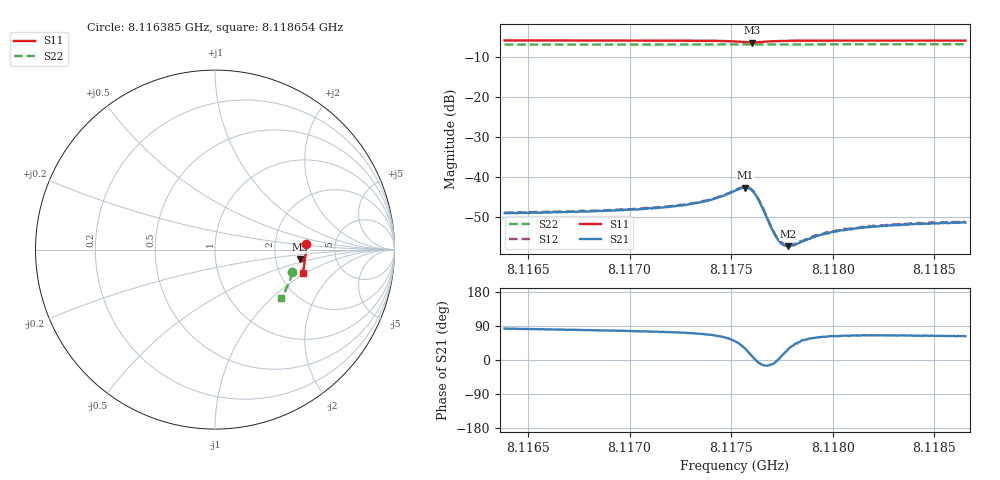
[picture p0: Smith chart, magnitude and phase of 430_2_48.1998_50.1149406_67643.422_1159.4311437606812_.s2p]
#  HZ  S  RI  R  50.00
! Rohde & Schwarz Vector Network Analyzer
! Rohde-Schwarz,ZNB20-2Port,1311601062101988,3.16
! Created: UTC 3/20/2024, 11:55:18 AM
! freq[Hz]  re:S11  im:S11  re:S21  im:S21  re:S12  im:S12  re:S22  im:S22
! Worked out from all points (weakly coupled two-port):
!   401 points, 8.116385 GHz to 8.118654 GHz, reference 50 ohm
!   highest |S21| = -42.54 dB at 8.117571 GHz (marker M1); lowest = -57.2 dB at 8.11778 GHz (marker M2)
!   lowest |S11| = -6.4 dB at 8.117605 GHz (marker M3), VSWR 2.83, Z = 138 - j19.2 ohm
!   |S11| at or under -10 dB: nowhere
!   |S22| runs from -6.9 to -6.8 dB; largest |S21 - S12| = 0.00018
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8.1163846e9  0.5064 0.03  0.00044 0.00356  0.000494 0.00362  0.4316 -0.1271
8.1167648e9  0.5067 0.000952  0.000688 0.00367  0.000767 0.00377  0.4244 -0.1525
8.1171449e9  0.5047 -0.029  0.00114 0.00402  0.00115 0.00408  0.4156 -0.1778
8.1172641e9  0.5034 -0.0392  0.00137 0.00428  0.00147 0.00431  0.4124 -0.1856
8.1173833e9  0.5006 -0.0504  0.00197 0.00471  0.00202 0.00479  0.4091 -0.1932
8.1174627e9  0.4962 -0.0589  0.00291 0.00512  0.00302 0.00523  0.4066 -0.1984
8.1175194e9  0.4888 -0.0643  0.00442 0.00519  0.00455 0.00526  0.4047 -0.2021
8.1175705e9  0.4778 -0.0623  0.0065 0.00367  0.00664 0.00368  0.4029 -0.205
8.1175875e9  0.4751 -0.0585  0.00689 0.00244  0.00705 0.00245  0.4022 -0.2057
8.1176045e9  0.4748 -0.0534  0.00671 0.00111  0.00687 0.00107  0.4019 -0.2067
8.1176216e9  0.4773 -0.0489  0.006 -4.52e-06  0.00613 -0.000107  0.4016 -0.2071
8.1176386e9  0.4812 -0.0465  0.005 -0.00068  0.00511 -0.00076  0.4014 -0.2083
8.1177067e9  0.4943 -0.051  0.00212 -0.000383  0.00216 -0.000395  0.3999 -0.2128
8.1177294e9  0.496 -0.0539  0.00171 -2.05e-05  0.00173 -5.95e-05  0.3992 -0.2141
8.1177521e9  0.4973 -0.0569  0.00145 0.000328  0.00151 0.000306  0.3985 -0.2159
8.1177804e9  0.4983 -0.0603  0.00123 0.00065  0.00126 0.000643  0.3977 -0.2176
8.1178145e9  0.4987 -0.0642  0.00106 0.000974  0.00112 0.000971  0.3968 -0.2198
8.1178996e9  0.4989 -0.0728  0.00095 0.0015  0.000989 0.00152  0.394 -0.2252
8.1179563e9  0.4985 -0.078  0.00096 0.00171  0.000992 0.00173  0.3921 -0.2288
8.1180585e9  0.4974 -0.0868  0.000964 0.00198  0.00102 0.00205  0.3887 -0.2351
8.1182798e9  0.4942 -0.1042  0.00107 0.00228  0.00112 0.0023  0.3811 -0.2486
8.1186542e9  0.4875 -0.132  0.00126 0.00243  0.0013 0.00246  0.367 -0.2708
